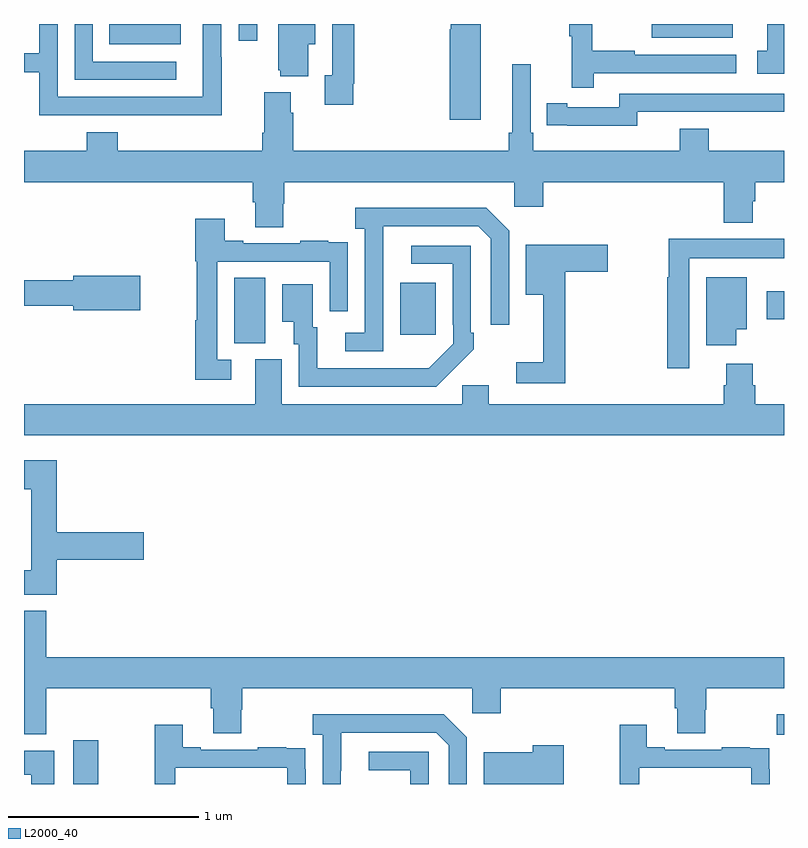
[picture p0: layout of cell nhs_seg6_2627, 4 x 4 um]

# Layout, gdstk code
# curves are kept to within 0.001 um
import gdstk
lib = gdstk.Library(unit=1e-6, precision=1e-09)
def R(c, l, rs):  # rectangles x0, y0, x1, y1
    for r in rs: c.add(gdstk.rectangle(r[:2], r[2:], *l))
def P(c, l, *ps):  # polygons
    for p in ps: c.add(gdstk.Polygon(p, *l))
L2000_40 = (2000, 40)

nhs_seg6_2627 = lib.new_cell('nhs_seg6_2627')
R(nhs_seg6_2627, L2000_40, [(267.26,945.5,267.39,945.73), (270.963,945.758,271,945.868), (268.106,947.821,268.27,948.164), (268.979,947.865,269.167,948.139), (270.909,947.947,271,948.094), (268.131,949.413,268.227,949.5), (270.303,949.427,270.73,949.5)])
P(nhs_seg6_2627, L2000_40, [(271,949.5),(270.911,949.5),(270.911,949.359),(270.858,949.359),(270.858,949.239),(271,949.239)],
  [(268.041,949.325),(268.038,949.325),(268.038,949.5),(267.942,949.5),(267.942,949.116),(267.177,949.116),(267.177,949.5),(267.081,949.5),(267.081,949.346),(267,949.346),(267,949.245),(267.081,949.245),(267.081,949.02),(267.577,949.02),(267.577,949.019),(268.041,949.019)],
  [(268.732,949.186),(268.739,949.186),(268.739,949.5),(268.623,949.5),(268.623,949.23),(268.583,949.23),(268.583,949.074),(268.732,949.074)],
  [(267.802,949.302),(267.363,949.302),(267.363,949.5),(267.267,949.5),(267.267,949.206),(267.802,949.206)],
  [(267.826,949.5),(267.705,949.5),(267.705,949.498),(267.448,949.498),(267.448,949.394),(267.826,949.394)],
  [(268.495,949.394),(268.534,949.394),(268.534,949.5),(268.337,949.5),(268.337,949.257),(268.349,949.257),(268.349,949.226),(268.495,949.226)],
  [(269.999,949.242),(270.748,949.242),(270.748,949.338),(270.215,949.338),(270.215,949.358),(269.992,949.358),(269.992,949.5),(269.871,949.5),(269.871,949.435),(269.882,949.435),(269.882,949.164),(269.999,949.164)],
  [(269.404,949.5),(269.246,949.5),(269.246,949.473),(269.24,949.473),(269.24,948.996),(269.404,948.996)],
  [(268.365,948.555),(268.37,948.555),(268.37,948.668),(269.58,948.668),(269.58,948.537),(269.732,948.537),(269.732,948.668),(270.683,948.668),(270.683,948.455),(270.835,948.455),(270.835,948.567),(270.848,948.567),(270.848,948.668),(271,948.668),(271,948.832),(270.605,948.832),(270.605,948.949),(270.452,948.949),(270.452,948.832),(269.681,948.832),(269.681,948.928),(269.667,948.928),(269.667,949.288),(269.57,949.288),(269.57,948.928),(269.551,948.928),(269.551,948.832),(268.418,948.832),(268.418,949.034),(268.405,949.034),(268.405,949.141),(268.265,949.141),(268.265,948.928),(268.253,948.928),(268.253,948.832),(267.494,948.832),(267.494,948.931),(267.329,948.931),(267.329,948.832),(267,948.832),(267,948.668),(268.205,948.668),(268.205,948.562),(268.217,948.562),(268.217,948.43),(268.365,948.43)],
  [(270.228,949.038),(270.688,949.038),(270.688,949.037),(271,949.037),(271,949.134),(270.132,949.134),(270.132,949.062),(269.86,949.062),(269.86,949.082),(269.752,949.082),(269.752,948.966),(269.86,948.966),(269.86,948.965),(270.228,948.965)],
  [(268.89,948.235),(268.891,948.435),(269.391,948.435),(269.457,948.369),(269.457,947.916),(269.553,947.916),(269.553,948.411),(269.432,948.532),(268.743,948.532),(268.743,948.422),(268.794,948.422),(268.794,947.874),(268.692,947.874),(268.692,947.778),(268.89,947.778)],
  [(268.09,947.733),(268.017,947.733),(268.017,948.249),(268.608,948.249),(268.608,947.988),(268.704,947.988),(268.704,948.242),(268.703,948.242),(268.703,948.351),(268.601,948.351),(268.601,948.358),(268.453,948.358),(268.453,948.345),(268.153,948.345),(268.153,948.358),(268.057,948.358),(268.057,948.475),(267.901,948.475),(267.901,948.252),(267.909,948.252),(267.909,947.94),(267.901,947.94),(267.901,947.628),(268.09,947.628)],
  [(270.501,948.266),(271,948.266),(271,948.37),(270.393,948.37),(270.393,948.166),(270.385,948.166),(270.385,947.688),(270.501,947.688)],
  [(269.849,948.197),(270.073,948.197),(270.073,948.339),(269.642,948.339),(269.642,948.074),(269.732,948.074),(269.732,947.719),(269.592,947.719),(269.592,947.61),(269.849,947.61)],
  [(269.261,947.683),(269.262,947.682),(269.367,947.787),(269.367,947.875),(269.352,947.875),(269.352,948.333),(269.037,948.333),(269.037,948.237),(269.256,948.237),(269.256,947.917),(269.259,947.917),(269.259,947.817),(269.131,947.689),(268.543,947.688),(268.543,947.904),(268.519,947.904),(268.519,948.13),(268.358,948.13),(268.358,947.933),(268.421,947.933),(268.421,947.814),(268.446,947.814),(268.446,947.592),(269.17,947.592)],
  [(267.613,948.176),(267.26,948.176),(267.26,948.152),(267,948.152),(267,948.016),(267.26,948.016),(267.26,947.993),(267.613,947.993)],
  [(270.748,947.894),(270.805,947.894),(270.805,948.166),(270.59,948.166),(270.59,947.808),(270.748,947.808)],
  [(271,947.5),(270.848,947.5),(270.848,947.598),(270.835,947.598),(270.835,947.713),(270.695,947.713),(270.695,947.598),(270.683,947.598),(270.683,947.5),(269.446,947.5),(269.446,947.598),(269.307,947.598),(269.307,947.5),(268.357,947.5),(268.357,947.736),(268.217,947.736),(268.217,947.5),(267,947.5),(267,947.336),(271,947.336)],
  [(267.173,946.679),(267.631,946.679),(267.631,946.826),(267.173,946.826),(267.173,947.203),(267,947.203),(267,947.051),(267.038,947.051),(267.038,946.624),(267,946.624),(267,946.496),(267.173,946.496)],
  [(267.116,946.004),(267.983,946.004),(267.983,945.898),(267.995,945.898),(267.995,945.766),(268.143,945.766),(268.143,945.891),(268.148,945.891),(268.148,946.004),(269.358,946.004),(269.358,945.873),(269.51,945.873),(269.51,946.004),(270.425,946.004),(270.425,945.898),(270.437,945.898),(270.437,945.766),(270.585,945.766),(270.585,945.891),(270.59,945.891),(270.59,946.004),(271,946.004),(271,946.168),(267.116,946.168),(267.116,946.411),(267,946.411),(267,945.761),(267.116,945.761)],
  [(268.668,945.571),(268.669,945.771),(269.169,945.771),(269.235,945.705),(269.235,945.5),(269.331,945.5),(269.331,945.747),(269.21,945.868),(268.521,945.868),(268.521,945.758),(268.572,945.758),(268.572,945.5),(268.668,945.5)],
  [(270.237,945.585),(270.828,945.585),(270.828,945.5),(270.924,945.5),(270.924,945.578),(270.923,945.578),(270.923,945.687),(270.821,945.687),(270.821,945.694),(270.673,945.694),(270.673,945.681),(270.373,945.681),(270.373,945.694),(270.277,945.694),(270.277,945.811),(270.136,945.811),(270.136,945.5),(270.237,945.5)],
  [(267.795,945.585),(268.386,945.585),(268.386,945.5),(268.482,945.5),(268.482,945.578),(268.481,945.578),(268.481,945.687),(268.379,945.687),(268.379,945.694),(268.231,945.694),(268.231,945.681),(267.931,945.681),(267.931,945.694),(267.835,945.694),(267.835,945.811),(267.687,945.811),(267.687,945.5),(267.795,945.5)],
  [(269.842,945.703),(269.677,945.703),(269.677,945.667),(269.42,945.667),(269.42,945.5),(269.842,945.5)],
  [(267.16,945.676),(267,945.676),(267,945.548),(267.038,945.548),(267.038,945.5),(267.16,945.5)],
  [(269.13,945.669),(268.815,945.669),(268.815,945.573),(269.034,945.573),(269.034,945.5),(269.13,945.5)])

lib.write_gds('nhs_seg6_2627.gds')
